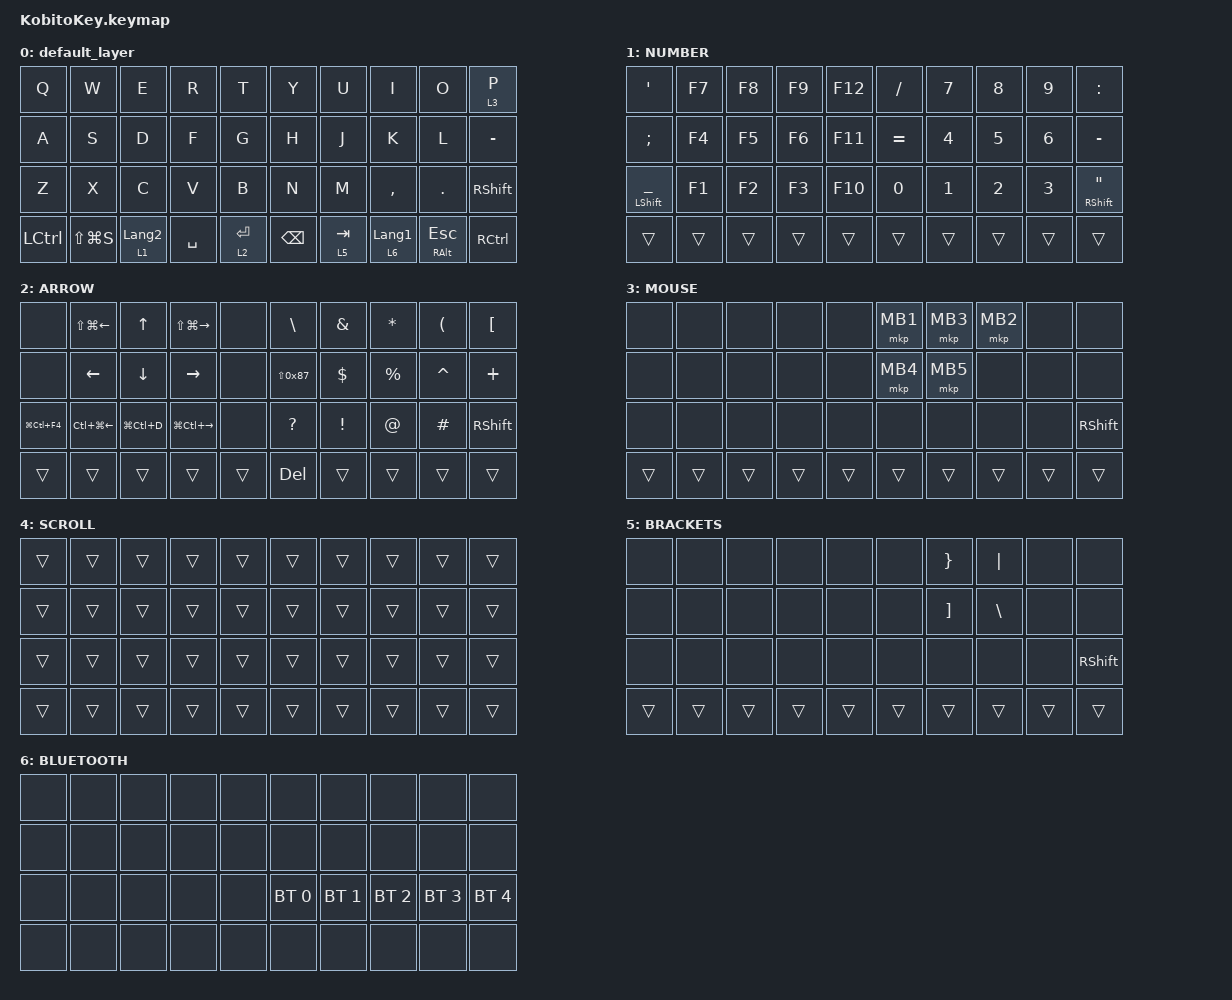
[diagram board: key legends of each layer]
#include <input/processors.dtsi>
#include <behaviors.dtsi>
#include <dt-bindings/zmk/bt.h>
#include <dt-bindings/zmk/keys.h>
#include <dt-bindings/zmk/pointing.h>

// OS設定を日本語キーボードのまま使用するための変換定義

#define JP_DQUOTE       AT                // "
#define JP_AMPERSAND    CARET             // &
#define JP_QUOTE        AMPERSAND         // '
#define JP_EQUAL        UNDER             // =
#define JP_CARET        EQUAL             // ^
#define JP_YEN          0x89              // ¥
#define JP_PLUS         COLON             // +
#define JP_TILDE        PLUS              // ~
#define JP_PIPE         LS(0x89)          // |
#define JP_AT           LEFT_BRACKET      // @
#define JP_COLON        SINGLE_QUOTE      // :
#define JP_ASTERISK     DOUBLE_QUOTES     // *
#define JP_BACKQUOTE    LEFT_BRACE        // `
#define JP_UNDERSCORE   LS(0x87)          // _
#define JP_LBRACKET     RIGHT_BRACKET     // [
#define JP_RBRACKET     BACKSLASH         // ]
#define JP_LPAREN       ASTERISK          // (
#define JP_RPAREN       LEFT_PARENTHESIS  // )
#define JP_LBRACE       RIGHT_BRACE       // {
#define JP_RBRACE       PIPE              // }
#define JP_KANA         LANGUAGE_1        // かな
#define JP_EISU         LANGUAGE_2        // 英数
#define JP_HANZEN       GRAVE             // 半角/全角

/ {
    combos {
        compatible = "zmk,combos";

        home {
            bindings = <&kp HOME>;
            key-positions = <5 6>;
        };

        end {
            bindings = <&kp END>;
            key-positions = <15 16>;
        };

        windows {
            bindings = <&kp LEFT_WIN>;
            key-positions = <0 10>;
        };

        Shift_left {
            bindings = <&kp LEFT_SHIFT>;
            key-positions = <30 20>;
        };
    };

    keymap {
        compatible = "zmk,keymap";

        default_layer {
            bindings = <
&kp Q             &kp W          &kp E          &kp R      &kp T        &kp Y     &kp U      &kp I          &kp O                 &lt 3 P
&kp A             &kp S          &kp D          &kp F      &kp G        &kp H     &kp J      &kp K          &kp L                 &kp MINUS
&kp Z             &kp X          &kp C          &kp V      &kp B        &kp N     &kp M      &kp COMMA      &kp DOT               &kp RIGHT_SHIFT
&kp LEFT_CONTROL  &kp LS(LG(S))  &lt 1 JP_EISU  &kp SPACE  &lt 2 ENTER  &kp BSPC  &lt 5 TAB  &lt 6 JP_KANA  &mt RIGHT_ALT ESCAPE  &kp RIGHT_CONTROL
            >;
        };

        layer1 {
            label = "NUMBER";
            bindings = <
&kp JP_COLON             &kp F7  &kp F8  &kp F9  &kp F12  &kp SLASH     &kp NUMBER_7  &kp NUMBER_8  &kp NUMBER_9  &kp JP_PLUS
&kp SEMICOLON            &kp F4  &kp F5  &kp F6  &kp F11  &kp JP_CARET  &kp NUMBER_4  &kp NUMBER_5  &kp NUMBER_6  &kp MINUS
&mt LEFT_SHIFT JP_EQUAL  &kp F1  &kp F2  &kp F3  &kp F10  &kp NUMBER_0  &kp NUMBER_1  &kp NUMBER_2  &kp NUMBER_3  &mt RIGHT_SHIFT JP_ASTERISK
&trans                   &trans  &trans  &trans  &trans   &trans        &trans        &trans        &trans        &trans
            >;
        };

        layer2 {
            label = "ARROW";
            bindings = <
&none           &kp LS(LG(LEFT_ARROW))  &kp UP_ARROW    &kp LS(LG(RIGHT_ARROW))  &none   &kp BACKSLASH      &kp JP_QUOTE     &kp JP_LPAREN  &kp JP_RPAREN     &kp JP_AT
&none           &kp LEFT_ARROW          &kp DOWN_ARROW  &kp RIGHT_ARROW          &none   &kp JP_UNDERSCORE  &kp DOLLAR       &kp PERCENT    &kp JP_AMPERSAND  &kp JP_TILDE
&kp LG(LC(F4))  &kp LC(LG(LEFT_ARROW))  &kp LG(LC(D))   &kp LG(LC(RIGHT_ARROW))  &none   &kp QUESTION       &kp EXCLAMATION  &kp JP_DQUOTE  &kp HASH          &kp RIGHT_SHIFT
&trans          &trans                  &trans          &trans                   &trans  &kp DELETE         &trans           &trans         &trans            &trans
            >;
        };

        layer3 {
            label = "MOUSE";
            bindings = <
&none   &none   &none   &none   &none   &mkp MB1  &mkp MB3  &mkp MB2  &none   &none
&none   &none   &none   &none   &none   &mkp MB4  &mkp MB5  &none     &none   &none
&none   &none   &none   &none   &none   &none     &none     &none     &none   &kp RIGHT_SHIFT
&trans  &trans  &trans  &trans  &trans  &trans    &trans    &trans    &trans  &trans
            >;
        };

        layer_4 {
            label = "SCROLL";
            bindings = <
&trans  &trans  &trans  &trans  &trans  &trans  &trans  &trans  &trans  &trans
&trans  &trans  &trans  &trans  &trans  &trans  &trans  &trans  &trans  &trans
&trans  &trans  &trans  &trans  &trans  &trans  &trans  &trans  &trans  &trans
&trans  &trans  &trans  &trans  &trans  &trans  &trans  &trans  &trans  &trans
            >;
        };

        layer_5 {
            label = "BRACKETS";
            bindings = <
&none   &none   &none   &none   &none   &none   &kp JP_LBRACE    &kp JP_RBRACE    &none   &none
&none   &none   &none   &none   &none   &none   &kp JP_LBRACKET  &kp JP_RBRACKET  &none   &none
&none   &none   &none   &none   &none   &none   &none            &none            &none   &kp RIGHT_SHIFT
&trans  &trans  &trans  &trans  &trans  &trans  &trans           &trans           &trans  &trans
            >;
        };

        layer_6 {
            label = "BLUETOOTH";
            bindings = <
&none  &none  &none  &none  &none  &none         &none         &none         &none         &none
&none  &none  &none  &none  &none  &none         &none         &none         &none         &none
&none  &none  &none  &none  &none  &bt BT_SEL 0  &bt BT_SEL 1  &bt BT_SEL 2  &bt BT_SEL 3  &bt BT_SEL 4
&none  &none  &none  &none  &none  &none         &none         &none         &none         &none
            >;
        };
    };
};
